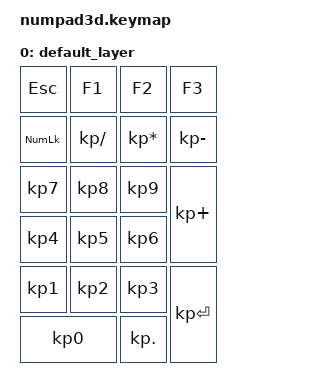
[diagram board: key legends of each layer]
// This file was generated from a template. Edit it to match your keyboard.
// See https://zmk.dev/docs/development/hardware-integration/new-shield for more instructions.

#include <behaviors.dtsi>
#include <dt-bindings/zmk/keys.h>

/ {
    keymap {
        compatible = "zmk,keymap";

        default_layer {
            bindings = <
                &kp ESC        &kp F1          &kp F2          &kp F3
                &kp KP_NUMLOCK &kp KP_DIVIDE   &kp KP_MULTIPLY &kp KP_MINUS
                &kp KP_N7      &kp KP_N8       &kp KP_N9       &kp KP_PLUS
                &kp KP_N4      &kp KP_N5       &kp KP_N6
                &kp KP_N1      &kp KP_N2       &kp KP_N3       &kp KP_ENTER
                &kp KP_N0                      &kp KP_DOT
            >;
        };
    };
};
